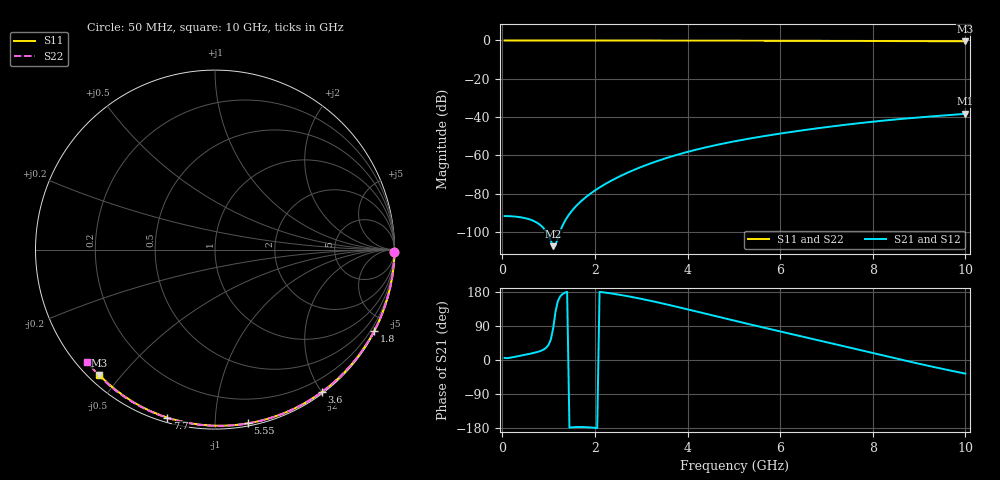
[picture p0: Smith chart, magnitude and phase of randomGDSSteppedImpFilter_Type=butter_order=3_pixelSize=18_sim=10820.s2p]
! freq	dB(S11)	phase(S11)	dB(S12)	phase(S12)
!  dB(S21)	phase(S21)	dB(S22)	phase(S22)
!S-par simulation data
#  GHz  S  DB  R 50
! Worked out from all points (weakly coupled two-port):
!   200 points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, 50 MHz to 10 GHz, reference 50 ohm
!   highest |S21| = -38.29 dB at 10 GHz (marker M1); lowest = -107.4 dB at 1.1 GHz (marker M2)
!   lowest |S11| = -0.4 dB at 10 GHz (marker M3), VSWR 39.02, Z = 1.53 - j21.9 ohm
!   |S11| at or under -10 dB: nowhere
!   |S22| runs from -0.5 to 0.0 dB; largest |S21 - S12| = 0
!   S11 on the Smith chart (normalised r, x): 50 MHz: open; 1.8 GHz: 0.04, -4.14; 3.6 GHz: 0.02, -2.00; 5.55 GHz: 0.02, -1.21; 7.7 GHz: 0.02, -0.76; 10 GHz: 0.03, -0.44
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0.05  -0.00 -0.8  -91.67 5.5  -91.67 5.5  -0.00 -0.8
0.55  -0.01 -8.4  -93.10 15.2  -93.10 15.2  -0.01 -8.8
1.1  -0.02 -16.7  -107.38 84.6  -107.38 84.6  -0.02 -17.5
1.75  -0.03 -26.4  -82.88 -176.9  -82.88 -176.9  -0.04 -27.7
1.8  -0.03 -27.1  -81.87 -177.1  -81.87 -177.1  -0.04 -28.5
1.9  -0.04 -28.6  -80.01 -177.9  -80.01 -177.9  -0.04 -30.0
2.05  -0.04 -30.8  -77.50 -179.6  -77.50 -179.6  -0.04 -32.3
2.2  -0.04 -33.0  -75.27 178.2  -75.27 178.2  -0.05 -34.6
2.55  -0.05 -38.1  -70.76 171.8  -70.76 171.8  -0.05 -40.0
2.95  -0.06 -43.9  -66.50 162.6  -66.50 162.6  -0.06 -46.0
3.4  -0.07 -50.2  -62.50 150.9  -62.50 150.9  -0.07 -52.7
3.6  -0.07 -53.0  -60.95 145.3  -60.95 145.3  -0.07 -55.6
3.9  -0.08 -57.2  -58.82 136.6  -58.82 136.6  -0.08 -60.0
4.3  -0.09 -62.7  -56.33 124.8  -56.33 124.8  -0.09 -65.7
5.05  -0.11 -72.7  -52.48 102.7  -52.48 102.7  -0.12 -76.2
5.55  -0.13 -79.2  -50.34 88.2  -50.34 88.2  -0.14 -83.0
6.1  -0.15 -86.2  -48.24 72.5  -48.24 72.5  -0.16 -90.3
6.7  -0.18 -93.7  -46.18 55.6  -46.18 55.6  -0.19 -98.1
7.7  -0.24 -105.8  -43.20 27.1  -43.20 27.1  -0.25 -110.7
8.35  -0.29 -113.5  -41.56 8.4  -41.56 8.4  -0.30 -118.8
9.2  -0.36 -123.4  -39.77 -15.4  -39.77 -15.4  -0.38 -129.2
10  -0.45 -132.6  -38.29 -35.9  -38.29 -35.9  -0.47 -138.8
